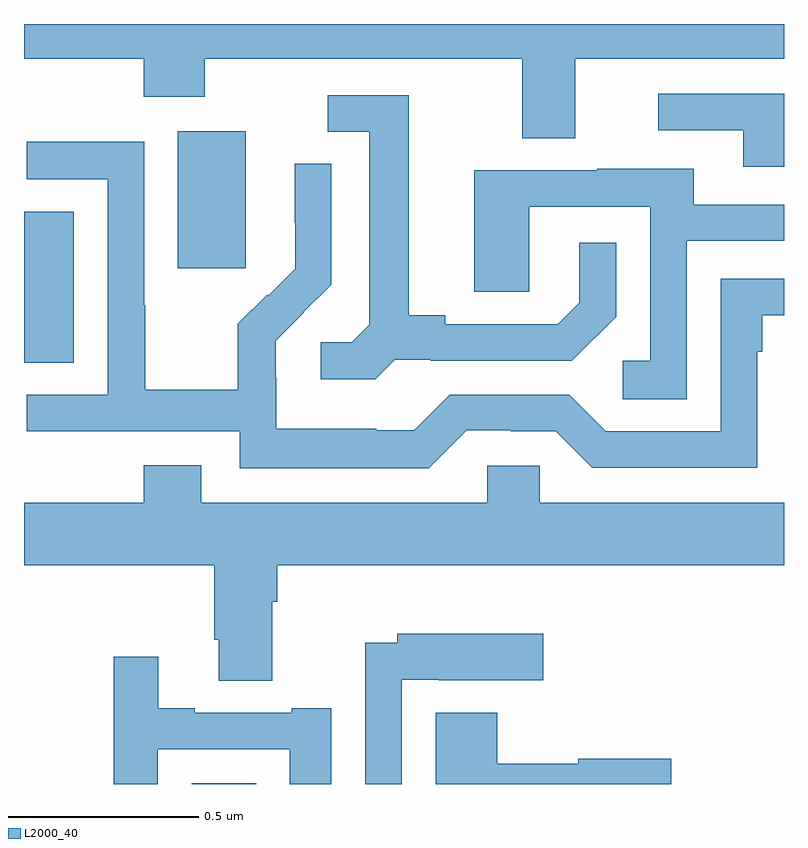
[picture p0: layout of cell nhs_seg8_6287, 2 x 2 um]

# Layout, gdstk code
import gdstk
lib = gdstk.Library(unit=1e-6, precision=1e-09)
def R(c, l, rs):  # rectangles x0, y0, x1, y1
    for r in rs: c.add(gdstk.rectangle(r[:2], r[2:], *l))
def P(c, l, *ps):  # polygons
    for p in ps: c.add(gdstk.Polygon(p, *l))
L2000_40 = (2000, 40)

nhs_seg8_6287 = lib.new_cell('nhs_seg8_6287')
R(nhs_seg8_6287, L2000_40, [(194.441,1139.9,194.611,1139.902), (194,1141.009,194.131,1141.406), (194.405,1141.257,194.584,1141.618)])
P(nhs_seg8_6287, L2000_40, [(195.451,1141.808),(196,1141.808),(196,1141.9),(194,1141.9),(194,1141.808),(194.315,1141.808),(194.315,1141.709),(194.475,1141.709),(194.475,1141.808),(195.311,1141.808),(195.311,1141.6),(195.451,1141.6)],
  [(196,1141.716),(195.669,1141.716),(195.669,1141.62),(195.893,1141.62),(195.893,1141.524),(196,1141.524)],
  [(194.976,1141.017),(195.07,1141.017),(195.07,1141.014),(195.442,1141.014),(195.558,1141.13),(195.558,1141.324),(195.461,1141.324),(195.461,1141.167),(195.404,1141.11),(195.109,1141.11),(195.109,1141.133),(195.013,1141.133),(195.013,1141.713),(194.799,1141.713),(194.799,1141.617),(194.909,1141.617),(194.909,1141.109),(194.862,1141.062),(194.781,1141.062),(194.781,1140.965),(194.924,1140.965)],
  [(195.165,1140.831),(195.281,1140.831),(195.281,1140.828),(195.399,1140.828),(195.495,1140.732),(195.93,1140.732),(195.93,1141.037),(195.943,1141.037),(195.943,1141.134),(196,1141.134),(196,1141.23),(195.834,1141.23),(195.834,1140.828),(195.531,1140.828),(195.435,1140.924),(195.12,1140.924),(195.027,1140.831),(194.927,1140.831),(194.927,1140.835),(194.664,1140.835),(194.664,1140.969),(194.662,1140.969),(194.662,1141.066),(194.736,1141.14),(194.735,1141.141),(194.808,1141.214),(194.808,1141.532),(194.712,1141.532),(194.712,1141.378),(194.714,1141.378),(194.714,1141.256),(194.643,1141.185),(194.64,1141.188),(194.563,1141.111),(194.563,1140.937),(194.319,1140.937),(194.319,1141.16),(194.316,1141.16),(194.316,1141.59),(194.007,1141.59),(194.007,1141.491),(194.22,1141.491),(194.22,1140.924),(194.007,1140.924),(194.007,1140.828),(194.568,1140.828),(194.568,1140.731),(195.065,1140.731)],
  [(195.744,1141.329),(196,1141.329),(196,1141.425),(195.763,1141.425),(195.763,1141.519),(195.509,1141.519),(195.509,1141.515),(195.185,1141.515),(195.185,1141.195),(195.33,1141.195),(195.33,1141.419),(195.648,1141.419),(195.648,1141.014),(195.576,1141.014),(195.576,1140.913),(195.744,1140.913)],
  [(194.653,1140.38),(194.666,1140.38),(194.666,1140.476),(196,1140.476),(196,1140.64),(195.357,1140.64),(195.357,1140.738),(195.219,1140.738),(195.219,1140.64),(194.467,1140.64),(194.467,1140.739),(194.315,1140.739),(194.315,1140.64),(194,1140.64),(194,1140.476),(194.501,1140.476),(194.501,1140.28),(194.513,1140.28),(194.513,1140.172),(194.653,1140.172)],
  [(194.994,1140.174),(195.091,1140.174),(195.091,1140.173),(195.367,1140.173),(195.367,1140.295),(194.982,1140.295),(194.982,1140.272),(194.898,1140.272),(194.898,1139.9),(194.994,1139.9)],
  [(194.352,1139.991),(194.699,1139.991),(194.699,1139.9),(194.809,1139.9),(194.809,1140.1),(194.705,1140.1),(194.705,1140.087),(194.449,1140.087),(194.449,1140.1),(194.353,1140.1),(194.353,1140.235),(194.236,1140.235),(194.236,1139.9),(194.352,1139.9)],
  [(195.703,1139.966),(195.459,1139.966),(195.459,1139.953),(195.245,1139.953),(195.245,1140.088),(195.083,1140.088),(195.083,1139.9),(195.703,1139.9)])

lib.write_gds('nhs_seg8_6287.gds')
